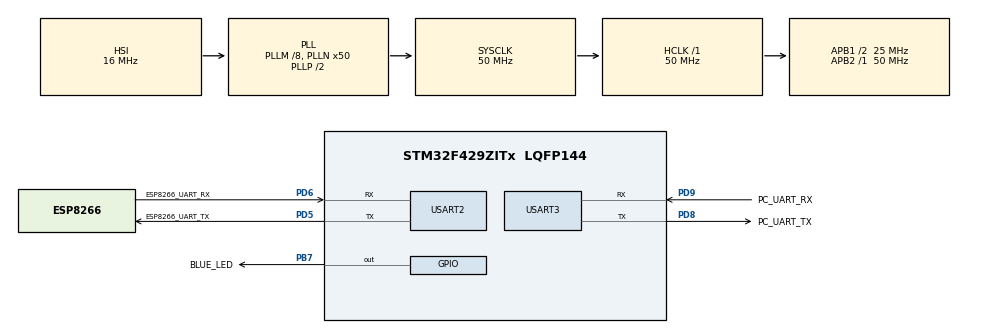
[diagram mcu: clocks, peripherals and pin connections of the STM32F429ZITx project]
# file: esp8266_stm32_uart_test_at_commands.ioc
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Mcu.Family=STM32F4
Mcu.Name=STM32F429ZITx
Mcu.Package=LQFP144
NVIC.PriorityGroup=NVIC_PRIORITYGROUP_4
NVIC.USART2_IRQn=true\:0\:0\:false\:false\:true\:true\:true\:true
NVIC.USART3_IRQn=true\:0\:0\:false\:false\:true\:true\:true\:true
PA13.Mode=Serial_Wire
PA13.Signal=SYS_JTMS-SWDIO
PA14.Mode=Serial_Wire
PA14.Signal=SYS_JTCK-SWCLK
PB7.GPIO_Label=BLUE_LED
PB7.Signal=GPIO_Output
PD5.GPIO_Label=ESP8266_UART_TX
PD5.Mode=Asynchronous
PD5.Signal=USART2_TX
PD6.GPIO_Label=ESP8266_UART_RX
PD6.Mode=Asynchronous
PD6.Signal=USART2_RX
PD8.GPIO_Label=PC_UART_TX
PD8.Mode=Asynchronous
PD8.Signal=USART3_TX
PD9.GPIO_Label=PC_UART_RX
PD9.Mode=Asynchronous
PD9.Signal=USART3_RX
PH0/OSC_IN.Mode=HSE-External-Oscillator
PH0/OSC_IN.Signal=RCC_OSC_IN
PH1/OSC_OUT.Mode=HSE-External-Oscillator
PH1/OSC_OUT.Signal=RCC_OSC_OUT
ProjectManager.HeapSize=0x200
ProjectManager.StackSize=0x400
ProjectManager.TargetToolchain=STM32CubeIDE
RCC.48MHZClocksFreq_Value=25000000
RCC.AHBFreq_Value=50000000
RCC.APB1CLKDivider=RCC_HCLK_DIV2
RCC.APB1Freq_Value=25000000
RCC.APB1TimFreq_Value=50000000
RCC.APB2Freq_Value=50000000
RCC.APB2TimFreq_Value=50000000
RCC.CortexFreq_Value=50000000
RCC.HCLKFreq_Value=50000000
RCC.HSE_VALUE=25000000
RCC.HSI_VALUE=16000000
RCC.PLLM=8
RCC.PLLN=50
RCC.SYSCLKFreq_VALUE=50000000
RCC.SYSCLKSource=RCC_SYSCLKSOURCE_PLLCLK
RCC.VCOOutputFreq_Value=100000000
USART2.VirtualMode=VM_ASYNC
USART3.VirtualMode=VM_ASYNC
board=custom

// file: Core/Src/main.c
/* USER CODE BEGIN Header */
/**
  ******************************************************************************
  * @file           : main.c
  * @brief          : Main program body
  ******************************************************************************
  * @attention
  *
  * Copyright (c) 2023 STMicroelectronics.
  * All rights reserved.
  *
  * This software is licensed under terms that can be found in the LICENSE file
  * in the root directory of this software component.
  * If no LICENSE file comes with this software, it is provided AS-IS.
  *
  ******************************************************************************
  */
/* USER CODE END Header */
#include "main.h"

/* USER CODE BEGIN Includes */
#include "ESP8266_HAL.h"

/* USER CODE END Includes */

/* USER CODE BEGIN PTD */
#define 	PUTCHAR_PROTOTYPE 	int __io_putchar(int ch)

/* USER CODE END PTD */

/* USER CODE BEGIN PD */
char buftocopyinto[80] = {0};

char data_variable[10] = {0};

char special_string[] = "field1";

/* USER CODE END PD */

UART_HandleTypeDef huart2;
UART_HandleTypeDef huart3;

void SystemClock_Config(void);
static void MX_GPIO_Init(void);
static void MX_USART2_UART_Init(void);
static void MX_USART3_UART_Init(void);
/* USER CODE BEGIN PFP */

void thingspeak_ip_connection_and_get_field1_value(){

	char protocol[] = "TCP";

	char api[] = "api.thingspeak.com";

	char CIP_Start[80];

	sprintf (CIP_Start, "AT+CIPSTART=\"%s\",\"%s\",80\r\n", protocol, api);

	Uart_sendstring(CIP_Start, &huart2);

	HAL_Delay(4000);
	Uart_sendstring("AT+CIPSEND=72\r\n", &huart2);
	while (!(Wait_for(">", &huart2)));
	Uart_sendstring("GET /channels/2041908/fields/1.json?api_key=[YOUR-API-KEY]]results=1\r\n", &huart2);

	while (!(Wait_for("+IPD", &huart2)));

	//while (!(Get_after("\"feeds\":", 64, buftocopyinto, &huart2)));

	while (!(Get_after("\"feeds\":[{\"created_at\":", 55, buftocopyinto, &huart2)));

}

/* USER CODE END PFP */

int main(void)
{

  /* MCU Configuration--------------------------------------------------------*/

  /* Reset of all peripherals, Initializes the Flash interface and the Systick. */
  HAL_Init();

  /* Configure the system clock */
  SystemClock_Config();

  /* Initialize all configured peripherals */
  MX_GPIO_Init();
  MX_USART2_UART_Init();
  MX_USART3_UART_Init();
  /* USER CODE BEGIN 2 */
//ESP_Init("Zyxel_E771", "Y4DX3YT34N");
  Ringbuf_init();

  /* USER CODE END 2 */

  /* Infinite loop */
  /* USER CODE BEGIN WHILE */
  while (1)
  {
	  HAL_Delay(100);
	  thingspeak_ip_connection_and_get_field1_value();

	  for (int i = 0; i < 80 - sizeof(special_string); i++) {
	      if (strncmp(&buftocopyinto[i], special_string, sizeof(special_string) - 1) == 0) {
			  // the special string is found
			  strncpy(data_variable, &buftocopyinto[i + sizeof(special_string) - 1], sizeof(data_variable) - 1);
			  printf("Special string found! Data variable: %s\n", data_variable);

			  printf("result:%c", data_variable[3]);

	      if(data_variable[3] == '1'){
	          HAL_GPIO_WritePin(BLUE_LED_GPIO_Port, BLUE_LED_Pin, 1);
	       }
	      else if(data_variable[3] == '0')
	       {
	          HAL_GPIO_WritePin(BLUE_LED_GPIO_Port, BLUE_LED_Pin, 0);
	       }
	      break;
	      }
	 }

    /* USER CODE END WHILE */

  }
}

void SystemClock_Config(void)
{
  RCC_OscInitTypeDef RCC_OscInitStruct = {0};
  RCC_ClkInitTypeDef RCC_ClkInitStruct = {0};

  /** Configure the main internal regulator output voltage
  */
  __HAL_RCC_PWR_CLK_ENABLE();
  __HAL_PWR_VOLTAGESCALING_CONFIG(PWR_REGULATOR_VOLTAGE_SCALE3);

  /** Initializes the RCC Oscillators according to the specified parameters
  * in the RCC_OscInitTypeDef structure.
  */
  RCC_OscInitStruct.OscillatorType = RCC_OSCILLATORTYPE_HSI;
  RCC_OscInitStruct.HSIState = RCC_HSI_ON;
  RCC_OscInitStruct.HSICalibrationValue = RCC_HSICALIBRATION_DEFAULT;
  RCC_OscInitStruct.PLL.PLLState = RCC_PLL_ON;
  RCC_OscInitStruct.PLL.PLLSource = RCC_PLLSOURCE_HSI;
  RCC_OscInitStruct.PLL.PLLM = 8;
  RCC_OscInitStruct.PLL.PLLN = 50;
  RCC_OscInitStruct.PLL.PLLP = RCC_PLLP_DIV2;
  RCC_OscInitStruct.PLL.PLLQ = 4;
  if (HAL_RCC_OscConfig(&RCC_OscInitStruct) != HAL_OK)
  {
    Error_Handler();
  }

  /** Initializes the CPU, AHB and APB buses clocks
  */
  RCC_ClkInitStruct.ClockType = RCC_CLOCKTYPE_HCLK|RCC_CLOCKTYPE_SYSCLK
                              |RCC_CLOCKTYPE_PCLK1|RCC_CLOCKTYPE_PCLK2;
  RCC_ClkInitStruct.SYSCLKSource = RCC_SYSCLKSOURCE_PLLCLK;
  RCC_ClkInitStruct.AHBCLKDivider = RCC_SYSCLK_DIV1;
  RCC_ClkInitStruct.APB1CLKDivider = RCC_HCLK_DIV2;
  RCC_ClkInitStruct.APB2CLKDivider = RCC_HCLK_DIV1;

  if (HAL_RCC_ClockConfig(&RCC_ClkInitStruct, FLASH_LATENCY_1) != HAL_OK)
  {
    Error_Handler();
  }
}

static void MX_USART2_UART_Init(void)
{

  huart2.Instance = USART2;
  huart2.Init.BaudRate = 115200;
  huart2.Init.WordLength = UART_WORDLENGTH_8B;
  huart2.Init.StopBits = UART_STOPBITS_1;
  huart2.Init.Parity = UART_PARITY_NONE;
  huart2.Init.Mode = UART_MODE_TX_RX;
  huart2.Init.HwFlowCtl = UART_HWCONTROL_NONE;
  huart2.Init.OverSampling = UART_OVERSAMPLING_16;
  if (HAL_UART_Init(&huart2) != HAL_OK)
  {
    Error_Handler();
  }

}

static void MX_USART3_UART_Init(void)
{

  huart3.Instance = USART3;
  huart3.Init.BaudRate = 115200;
  huart3.Init.WordLength = UART_WORDLENGTH_8B;
  huart3.Init.StopBits = UART_STOPBITS_1;
  huart3.Init.Parity = UART_PARITY_NONE;
  huart3.Init.Mode = UART_MODE_TX_RX;
  huart3.Init.HwFlowCtl = UART_HWCONTROL_NONE;
  huart3.Init.OverSampling = UART_OVERSAMPLING_16;
  if (HAL_UART_Init(&huart3) != HAL_OK)
  {
    Error_Handler();
  }

}

static void MX_GPIO_Init(void)
{
  GPIO_InitTypeDef GPIO_InitStruct = {0};

  /* GPIO Ports Clock Enable */
  __HAL_RCC_GPIOH_CLK_ENABLE();
  __HAL_RCC_GPIOD_CLK_ENABLE();
  __HAL_RCC_GPIOA_CLK_ENABLE();
  __HAL_RCC_GPIOB_CLK_ENABLE();

  /*Configure GPIO pin Output Level */
  HAL_GPIO_WritePin(BLUE_LED_GPIO_Port, BLUE_LED_Pin, GPIO_PIN_RESET);

  /*Configure GPIO pin : BLUE_LED_Pin */
  GPIO_InitStruct.Pin = BLUE_LED_Pin;
  GPIO_InitStruct.Mode = GPIO_MODE_OUTPUT_PP;
  GPIO_InitStruct.Pull = GPIO_NOPULL;
  GPIO_InitStruct.Speed = GPIO_SPEED_FREQ_LOW;
  HAL_GPIO_Init(BLUE_LED_GPIO_Port, &GPIO_InitStruct);

}

/* USER CODE BEGIN 4 */
PUTCHAR_PROTOTYPE
{
  /* Place your implementation of fputc here */
  /* e.g. write a character to the USART1 and Loop until the end of transmission */
  HAL_UART_Transmit(&huart3, (uint8_t *)&ch, 1, 0xFFFF);

  return ch;
}
/* USER CODE END 4 */

void Error_Handler(void)
{
  __disable_irq();
  while (1)
  {
  }
}
